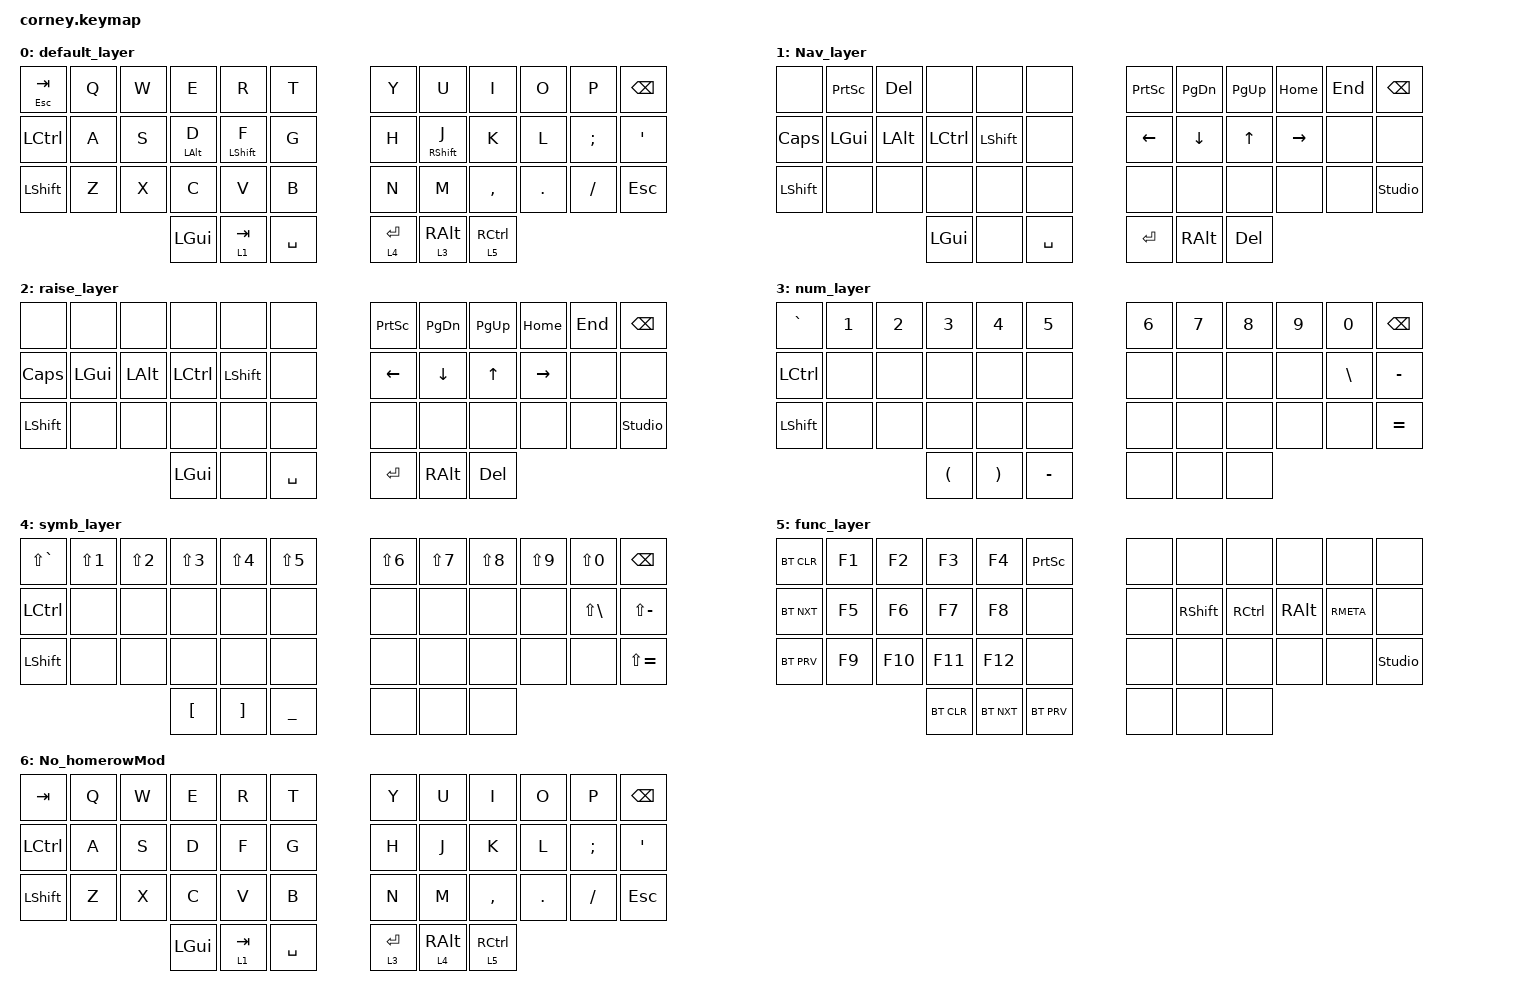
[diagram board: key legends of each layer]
/*
 * Copyright (c) 2020 The ZMK Contributors
 *
 * SPDX-License-Identifier: MIT
 */

#include <dt-bindings/zmk/mouse.h>
#include <behaviors.dtsi>
#include <dt-bindings/zmk/bt.h>
#include <dt-bindings/zmk/keys.h>
#include "corney_macros.dtsi"

/ {
    behaviors {
        // Activate ADJUST layer by pressing raise and lower

        hm_l: homerow_mods_left {
            compatible = "zmk,behavior-hold-tap";
            #binding-cells = <2>;
            bindings = <&kp>, <&kp>;

            flavor = "balanced";
            tapping-term-ms = <180>;
            quick-tap-ms = <175>;                // repeat on tap-into-hold
            require-prior-idle-ms = <125>;
            hold-trigger-on-release;
        };

        hm_r: homerow_mods_right {
            compatible = "zmk,behavior-hold-tap";
            #binding-cells = <2>;
            bindings = <&kp>, <&kp>;

            flavor = "balanced";
            tapping-term-ms = <180>;
            quick-tap-ms = <175>;
            require-prior-idle-ms = <125>;
            hold-trigger-on-release;
        };

        // Positional Homerow mods for shift
        // Use faster tapping term and disable some features that may
        // cause false negatives.

        hm_shift_l: hm_shift_l {
            compatible = "zmk,behavior-hold-tap";
            #binding-cells = <2>;
            bindings = <&kp>, <&kp>;

            flavor = "balanced";
            tapping-term-ms = <180>;
            quick-tap-ms = <175>;
            require-prior-idle-ms = <125>;
            hold-trigger-on-release;
        };

        hm_shift_r: hm_shift_r {
            compatible = "zmk,behavior-hold-tap";
            #binding-cells = <2>;
            bindings = <&kp>, <&kp>;

            flavor = "balanced";
            tapping-term-ms = <180>;
            quick-tap-ms = <175>;
            require-prior-idle-ms = <125>;
            hold-trigger-on-release;
        };

        /*
         * Non-Positional Homerow Mods
         * Used for &mm_grescm_gui behavior on left hand.
         *
         * Usage: &hm LSHFT T
         * Tap: T
         * Tap-Tap-Hold: Repeat T
         * Hold: LSHIFT
         */

        hm: homerow_mods {
            compatible = "zmk,behavior-hold-tap";
            #binding-cells = <2>;
            bindings = <&kp>, <&kp>;

            flavor = "balanced";
            tapping-term-ms = <180>;
            quick-tap-ms = <200>;
            require-prior-idle-ms = <125>;
        };

        lt: layer_tap {
            compatible = "zmk,behavior-hold-tap";
            #binding-cells = <2>;
            bindings = <&mo>, <&kp>;

            flavor = "balanced";
            tapping-term-ms = <180>;
        };
    };

    conditional_layers { compatible = "zmk,conditional-layers"; };

    combos {
        compatible = "zmk,combos";

        togle_homeRowMod {
            bindings = <&tog 6>;
            key-positions = <33 34 35>;
        };

        capslock {
            bindings = <&kp CAPSLOCK>;
            key-positions = <24 35>;
        };

        backslash {
            bindings = <&kp BACKSLASH>;
            key-positions = <22 23>;
        };
    };

    keymap {
        compatible = "zmk,keymap";

        default_layer {
            // -----------------------------------------------------------------------------------------
            // |  TAB |  Q  |  W  |  E  |  R  |  T  |   |  Y  |  U   |  I  |  O  |  P  | BSPC |
            // | CTRL |  A  |  S  |  D  |  F  |  G  |   |  H  |  J   |  K  |  L  |  ;  |  '   |
            // | SHFT |  Z  |  X  |  C  |  V  |  B  |   |  N  |  M   |  ,  |  .  |  /  | ESC  |
            //                    | GUI | TAB | SPC |   | ENT | LANG | DEL |

            bindings = <
&mt ESC TAB  &kp Q  &kp W  &kp E           &kp R                     &kp T        &kp Y        &kp U                &kp I                &kp O    &kp P     &kp BSPC
&kp LCTRL    &kp A  &kp S  &hm LEFT_ALT D  &hm_shift_l LEFT_SHIFT F  &kp G        &kp H        &hm_r RIGHT_SHIFT J  &kp K                &kp L    &kp SEMI  &kp SQT
&kp LSHFT    &kp Z  &kp X  &kp C           &kp V                     &kp B        &kp N        &kp M                &kp COMMA            &kp DOT  &kp FSLH  &kp ESC
                           &kp LGUI        &lt 1 TAB                 &kp SPACE    &lt 4 ENTER  &lt 3 RALT           &lt 5 RIGHT_CONTROL
            >;
        };

        Nav_layer {
            // -----------------------------------------------------------------------------------------
            // |  TAB |  1  |  2  |  3  |  4  |  5  |   | PRT | PDW | PUP | HOM | END | BSPC |
            // |  CAP | GUI | ALT | CTL | SFT |     |   | LFT | DWN |  UP | RGT |     |      |
            // | SHFT |     |     |     |     |     |   |     |     |     |     |     | ZMK  |
            //                    | GUI |     | SPC |   | ENT | ALT | DEL |

            bindings = <
&none           &kp PRINTSCREEN  &kp DELETE    &none      &none      &none        &kp PRINTSCREEN  &kp PAGE_DOWN   &kp PAGE_UP   &kp HOME         &kp END  &kp BACKSPACE
&kp CAPSLOCK    &kp LGUI         &kp LEFT_ALT  &kp LCTRL  &kp LSHFT  &none        &kp LEFT_ARROW   &kp DOWN_ARROW  &kp UP_ARROW  &kp RIGHT_ARROW  &none    &none
&kp LEFT_SHIFT  &none            &none         &none      &none      &none        &none            &none           &none         &none            &none    &studio_unlock
                                               &kp LGUI   &none      &kp SPACE    &kp RET          &kp RALT        &kp DELETE
            >;
        };

        raise_layer {
            // -----------------------------------------------------------------------------------------
            // |  TAB |     |     |     |     |     |   | PRT | PDW | PUP | HOM | END | BSPC |
            // |  CAP | GUI | ALT | CTL | SFT |     |   | LFT | DWN |  UP | RGT |     |      |
            // | SHFT |     |     |     |     |     |   |     |     |     |     |     | ZMK  |
            //                    | GUI |     | SPC |   | ENT | ALT | DEL |

            bindings = <
&none           &none     &none         &none      &none      &none        &kp PRINTSCREEN  &kp PAGE_DOWN   &kp PAGE_UP   &kp HOME         &kp END  &kp BACKSPACE
&kp CAPSLOCK    &kp LGUI  &kp LEFT_ALT  &kp LCTRL  &kp LSHFT  &none        &kp LEFT_ARROW   &kp DOWN_ARROW  &kp UP_ARROW  &kp RIGHT_ARROW  &none    &none
&kp LEFT_SHIFT  &none     &none         &none      &none      &none        &none            &none           &none         &none            &none    &studio_unlock
                                        &kp LGUI   &none      &kp SPACE    &kp RET          &kp RALT        &kp DELETE
            >;
        };

        num_layer {
            // -----------------------------------------------------------------------------------------
            // |   `  |  1  |  2  |  3  |  4  |  5  |   |  6  |  7  |  8  |  9  |  0  | BSPC |
            // | CTRL |     |     |     |     |     |   |     |     |     |     |  \  |   -  |
            // | SHFT |     |     |     |     |     |   |     |     |     |     |     |   =  |
            //                    |  (  |  )  |  -  |   |     |     |     |

            bindings = <
&kp GRAVE       &kp N1  &kp N2  &kp N3                &kp N4                 &kp N5       &kp N6  &kp N7  &kp N8  &kp N9  &kp N0         &kp BACKSPACE
&kp LCTRL       &none   &none   &none                 &none                  &none        &none   &none   &none   &none   &kp BACKSLASH  &kp MINUS
&kp LEFT_SHIFT  &none   &none   &none                 &none                  &none        &none   &none   &none   &none   &none          &kp EQUAL
                                &kp LEFT_PARENTHESIS  &kp RIGHT_PARENTHESIS  &kp MINUS    &none   &none   &none
            >;
        };

        symb_layer {
            // -----------------------------------------------------------------------------------------
            // |   ~  |  !  |  @  |  #  |  $  |  %  |   |  ^  |  &  |  *  |  (  |  )  | BSPC |
            // | CTRL |     |     |     |     |     |   |     |     |     |     |  |  |   _  |
            // | SHFT |     |     |     |     |     |   |     |     |     |     |     |   +  |
            //                    |  [  |  ]  |  _  |   |     |     |     |

            bindings = <
&kp LS(GRAVE)   &kp LS(N1)  &kp LS(N2)  &kp LS(N3)        &kp LS(N4)         &kp LS(N5)        &kp LS(N6)  &kp LS(N7)  &kp LS(N8)  &kp LS(N9)  &kp LS(N0)         &kp BACKSPACE
&kp LCTRL       &none       &none       &none             &none              &none             &none       &none       &none       &none       &kp LS(BACKSLASH)  &kp LS(MINUS)
&kp LEFT_SHIFT  &none       &none       &none             &none              &none             &none       &none       &none       &none       &none              &kp LS(EQUAL)
                                        &kp LEFT_BRACKET  &kp RIGHT_BRACKET  &kp UNDERSCORE    &none       &none       &none
            >;
        };

        func_layer {
            // -----------------------------------------------------------------------------------------
            // |      | F1  | F2  | F3  | F4  | PRT |   |     |     |     |     |     |      |
            // |      | F5  | F6  | F7  | F8  |     |   |     | SFT | CTL | ALT | GUI |      |
            // |      | F9  | F10 | F11 | F12 |     |   |     |     |     |     |     | ZMK  |
            //                    | BTC | BTN | BTP |   |     |     |     |

            bindings = <
&bt BT_CLR  &kp F1  &kp F2   &kp F3      &kp F4      &kp PRINTSCREEN    &none  &none       &none      &none          &none      &none
&bt BT_NXT  &kp F5  &kp F6   &kp F7      &kp F8      &none              &none  &kp RSHIFT  &kp RCTRL  &kp RIGHT_ALT  &kp RMETA  &none
&bt BT_PRV  &kp F9  &kp F10  &kp F11     &kp F12     &none              &none  &none       &none      &none          &none      &studio_unlock
                             &bt BT_CLR  &bt BT_NXT  &bt BT_PRV         &none  &none       &none
            >;
        };

        No_homerowMod {
            bindings = <
&kp TAB    &kp Q  &kp W  &kp E     &kp R      &kp T        &kp Y        &kp U            &kp I                &kp O    &kp P     &kp BSPC
&kp LCTRL  &kp A  &kp S  &kp D     &kp F      &kp G        &kp H        &kp J            &kp K                &kp L    &kp SEMI  &kp APOS
&kp LSHFT  &kp Z  &kp X  &kp C     &kp V      &kp B        &kp N        &kp M            &kp COMMA            &kp DOT  &kp FSLH  &kp ESC
                         &kp LGUI  &lt 1 TAB  &kp SPACE    &lt 3 ENTER  &lt 4 RIGHT_ALT  &lt 5 RIGHT_CONTROL
            >;
        };
    };
};
